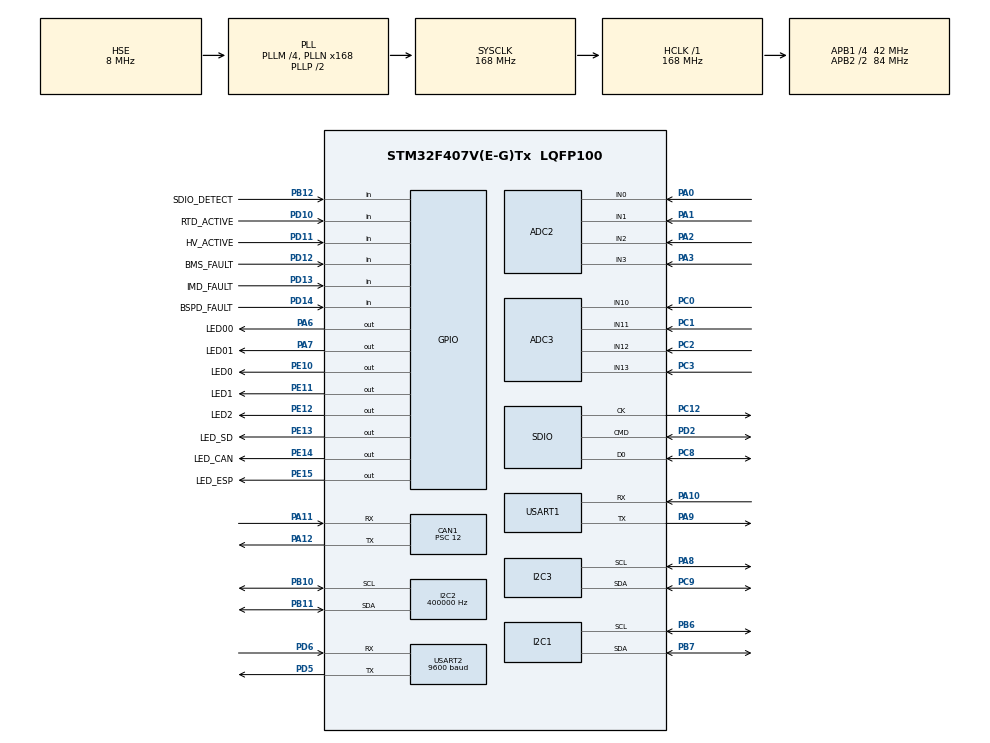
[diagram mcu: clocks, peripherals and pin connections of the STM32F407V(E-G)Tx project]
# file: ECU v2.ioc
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ADC1.Channel-0\#ChannelRegularConversion=ADC_CHANNEL_TEMPSENSOR
ADC1.ContinuousConvMode=DISABLE
ADC1.InjNumberOfConversion=0
ADC1.NbrOfConversionFlag=1
ADC1.Rank-0\#ChannelRegularConversion=1
ADC1.SamplingTime-0\#ChannelRegularConversion=ADC_SAMPLETIME_28CYCLES
ADC1.master=1
ADC2.Channel-0\#ChannelRegularConversion=ADC_CHANNEL_0
ADC2.Channel-6\#ChannelRegularConversion=ADC_CHANNEL_1
ADC2.Channel-7\#ChannelRegularConversion=ADC_CHANNEL_2
ADC2.Channel-8\#ChannelRegularConversion=ADC_CHANNEL_3
ADC2.ContinuousConvMode=DISABLE
ADC2.DiscontinuousConvMode=ENABLE
ADC2.EOCSelection=ADC_EOC_SINGLE_CONV
ADC2.InjNumberOfConversion=0
ADC2.NbrOfConversion=4
ADC2.NbrOfConversionFlag=1
ADC2.Rank-0\#ChannelRegularConversion=1
ADC2.Rank-6\#ChannelRegularConversion=2
ADC2.Rank-7\#ChannelRegularConversion=3
ADC2.Rank-8\#ChannelRegularConversion=4
ADC2.SamplingTime-0\#ChannelRegularConversion=ADC_SAMPLETIME_28CYCLES
ADC2.SamplingTime-6\#ChannelRegularConversion=ADC_SAMPLETIME_28CYCLES
ADC2.SamplingTime-7\#ChannelRegularConversion=ADC_SAMPLETIME_28CYCLES
ADC2.SamplingTime-8\#ChannelRegularConversion=ADC_SAMPLETIME_28CYCLES
ADC2.ScanConvMode=ENABLE
ADC3.Channel-0\#ChannelRegularConversion=ADC_CHANNEL_10
ADC3.Channel-5\#ChannelRegularConversion=ADC_CHANNEL_11
ADC3.Channel-6\#ChannelRegularConversion=ADC_CHANNEL_12
ADC3.Channel-7\#ChannelRegularConversion=ADC_CHANNEL_13
ADC3.ContinuousConvMode=DISABLE
ADC3.DiscontinuousConvMode=ENABLE
ADC3.EOCSelection=ADC_EOC_SINGLE_CONV
ADC3.InjNumberOfConversion=0
ADC3.NbrOfConversion=4
ADC3.NbrOfConversionFlag=1
ADC3.Rank-0\#ChannelRegularConversion=1
ADC3.Rank-5\#ChannelRegularConversion=2
ADC3.Rank-6\#ChannelRegularConversion=3
ADC3.Rank-7\#ChannelRegularConversion=4
ADC3.SamplingTime-0\#ChannelRegularConversion=ADC_SAMPLETIME_28CYCLES
ADC3.SamplingTime-5\#ChannelRegularConversion=ADC_SAMPLETIME_28CYCLES
ADC3.SamplingTime-6\#ChannelRegularConversion=ADC_SAMPLETIME_28CYCLES
ADC3.SamplingTime-7\#ChannelRegularConversion=ADC_SAMPLETIME_28CYCLES
ADC3.ScanConvMode=ENABLE
CAN1.ABOM=DISABLE
CAN1.AWUM=ENABLE
CAN1.BS1=CAN_BS1_11TQ
CAN1.BS2=CAN_BS2_2TQ
CAN1.CalculateBaudRate=250000
CAN1.CalculateTimeBit=4000
CAN1.CalculateTimeQuantum=285.7142857142857
CAN1.Mode=CAN_MODE_NORMAL
CAN1.Prescaler=12
CAN1.TTCM=DISABLE
Dma.Request0=SDIO_RX
Dma.Request1=SDIO_TX
Dma.Request2=USART2_RX
Dma.SDIO_RX.0.Direction=DMA_PERIPH_TO_MEMORY
Dma.SDIO_RX.0.FIFOMode=DMA_FIFOMODE_ENABLE
Dma.SDIO_RX.0.FIFOThreshold=DMA_FIFO_THRESHOLD_FULL
Dma.SDIO_RX.0.Instance=DMA2_Stream3
Dma.SDIO_RX.0.MemBurst=DMA_MBURST_INC4
Dma.SDIO_RX.0.MemDataAlignment=DMA_MDATAALIGN_WORD
Dma.SDIO_RX.0.MemInc=DMA_MINC_ENABLE
Dma.SDIO_RX.0.Mode=DMA_PFCTRL
Dma.SDIO_RX.0.PeriphBurst=DMA_PBURST_INC4
Dma.SDIO_RX.0.PeriphDataAlignment=DMA_PDATAALIGN_WORD
Dma.SDIO_RX.0.PeriphInc=DMA_PINC_DISABLE
Dma.SDIO_RX.0.Priority=DMA_PRIORITY_LOW
Dma.SDIO_TX.1.Direction=DMA_MEMORY_TO_PERIPH
Dma.SDIO_TX.1.FIFOMode=DMA_FIFOMODE_ENABLE
Dma.SDIO_TX.1.FIFOThreshold=DMA_FIFO_THRESHOLD_FULL
Dma.SDIO_TX.1.Instance=DMA2_Stream6
Dma.SDIO_TX.1.MemBurst=DMA_MBURST_INC4
Dma.SDIO_TX.1.MemDataAlignment=DMA_MDATAALIGN_WORD
Dma.SDIO_TX.1.MemInc=DMA_MINC_ENABLE
Dma.SDIO_TX.1.Mode=DMA_PFCTRL
Dma.SDIO_TX.1.PeriphBurst=DMA_PBURST_INC4
Dma.SDIO_TX.1.PeriphDataAlignment=DMA_PDATAALIGN_WORD
Dma.SDIO_TX.1.PeriphInc=DMA_PINC_DISABLE
Dma.SDIO_TX.1.Priority=DMA_PRIORITY_LOW
Dma.USART2_RX.2.Direction=DMA_PERIPH_TO_MEMORY
Dma.USART2_RX.2.FIFOMode=DMA_FIFOMODE_DISABLE
Dma.USART2_RX.2.Instance=DMA1_Stream5
Dma.USART2_RX.2.MemDataAlignment=DMA_MDATAALIGN_BYTE
Dma.USART2_RX.2.MemInc=DMA_MINC_ENABLE
Dma.USART2_RX.2.Mode=DMA_NORMAL
Dma.USART2_RX.2.PeriphDataAlignment=DMA_PDATAALIGN_BYTE
Dma.USART2_RX.2.PeriphInc=DMA_PINC_DISABLE
Dma.USART2_RX.2.Priority=DMA_PRIORITY_LOW
FATFS.BSP.number=1
FATFS.USE_DMA_CODE_SD=1
FATFS._CODE_PAGE=850
FATFS._MAX_SS=4096
FATFS._USE_LFN=1
FATFS0.BSP.STBoard=false
FATFS0.BSP.api=Unknown
FATFS0.BSP.instance=PB12
FATFS0.BSP.ip=GPIO
FATFS0.BSP.mode=Input
FATFS0.BSP.name=Detect_SDIO
FATFS0.BSP.solution=PB12
I2C1.I2C_Mode=I2C_Fast
I2C2.ClockSpeed=400000
I2C2.I2C_Mode=I2C_Fast
I2C3.I2C_Mode=I2C_Fast
Mcu.Family=STM32F4
Mcu.Name=STM32F407V(E-G)Tx
Mcu.Package=LQFP100
NVIC.ADC_IRQn=true\:0\:0\:false\:false\:true\:true\:true\:true
NVIC.CAN1_RX0_IRQn=true\:0\:0\:false\:false\:true\:true\:true\:true
NVIC.CAN1_TX_IRQn=true\:0\:0\:false\:false\:true\:true\:true\:true
NVIC.DMA1_Stream5_IRQn=true\:0\:0\:false\:false\:true\:false\:true\:true
NVIC.DMA2_Stream3_IRQn=true\:0\:0\:false\:false\:true\:false\:true\:true
NVIC.DMA2_Stream6_IRQn=true\:0\:0\:false\:false\:true\:false\:true\:true
NVIC.I2C1_EV_IRQn=true\:0\:0\:false\:false\:true\:true\:true\:true
NVIC.I2C2_EV_IRQn=true\:0\:0\:false\:false\:true\:true\:true\:true
NVIC.I2C3_EV_IRQn=true\:0\:0\:false\:false\:true\:true\:true\:true
NVIC.PriorityGroup=NVIC_PRIORITYGROUP_4
NVIC.SDIO_IRQn=true\:0\:0\:false\:false\:true\:true\:true\:true
NVIC.TIM1_UP_TIM10_IRQn=true\:0\:0\:false\:false\:true\:true\:true\:true
NVIC.TIM2_IRQn=true\:0\:0\:false\:false\:true\:true\:true\:true
NVIC.TIM3_IRQn=true\:0\:0\:false\:false\:true\:true\:true\:true
NVIC.USART1_IRQn=true\:0\:0\:false\:false\:true\:true\:true\:true
NVIC.USART2_IRQn=true\:0\:0\:false\:false\:true\:true\:true\:true
PA0-WKUP.GPIO_PuPd=GPIO_NOPULL
PA0-WKUP.Signal=SharedAnalog_PA0
PA1.GPIO_PuPd=GPIO_NOPULL
PA1.Signal=SharedAnalog_PA1
PA10.Mode=Asynchronous
PA10.Signal=USART1_RX
PA11.Mode=CAN_Activate
PA11.Signal=CAN1_RX
PA12.Mode=CAN_Activate
PA12.Signal=CAN1_TX
PA2.Signal=SharedAnalog_PA2
PA3.Signal=SharedAnalog_PA3
PA6.GPIO_Label=LED00
PA6.GPIO_PuPd=GPIO_NOPULL
PA6.Signal=GPIO_Output
PA7.GPIO_Label=LED01
PA7.GPIO_PuPd=GPIO_NOPULL
PA7.Signal=GPIO_Output
PA8.Mode=I2C
PA8.Signal=I2C3_SCL
PA9.Mode=Asynchronous
PA9.Signal=USART1_TX
PB10.Mode=I2C
PB10.Signal=I2C2_SCL
PB11.Mode=I2C
PB11.Signal=I2C2_SDA
PB12.GPIO_Label=SDIO_DETECT
PB12.GPIO_PuPd=GPIO_PULLDOWN
PB12.Signal=GPIO_Input
PB6.Mode=I2C
PB6.Signal=I2C1_SCL
PB7.Mode=I2C
PB7.Signal=I2C1_SDA
PC0.Signal=SharedAnalog_PC0
PC1.Signal=SharedAnalog_PC1
PC12.Mode=SD_1_bit
PC12.Signal=SDIO_CK
PC14-OSC32_IN.Mode=LSE-External-Oscillator
PC14-OSC32_IN.Signal=RCC_OSC32_IN
PC15-OSC32_OUT.Mode=LSE-External-Oscillator
PC15-OSC32_OUT.Signal=RCC_OSC32_OUT
PC2.Signal=SharedAnalog_PC2
PC3.Signal=SharedAnalog_PC3
PC8.GPIO_PuPd=GPIO_PULLUP
PC8.Mode=SD_1_bit
PC8.Signal=SDIO_D0
PC9.Mode=I2C
PC9.Signal=I2C3_SDA
PD10.GPIO_Label=RTD_ACTIVE
PD10.Signal=GPIO_Input
PD11.GPIO_Label=HV_ACTIVE
PD11.Signal=GPIO_Input
PD12.GPIO_Label=BMS_FAULT
PD12.Signal=GPIO_Input
PD13.GPIO_Label=IMD_FAULT
PD13.Signal=GPIO_Input
PD14.GPIO_Label=BSPD_FAULT
PD14.Signal=GPIO_Input
PD2.GPIO_PuPd=GPIO_PULLUP
PD2.Mode=SD_1_bit
PD2.Signal=SDIO_CMD
PD5.Mode=Asynchronous
PD5.Signal=USART2_TX
PD6.Mode=Asynchronous
PD6.Signal=USART2_RX
PE10.GPIO_Label=LED0
PE10.Signal=GPIO_Output
PE11.GPIO_Label=LED1
PE11.Signal=GPIO_Output
PE12.GPIO_Label=LED2
PE12.Signal=GPIO_Output
PE13.GPIO_Label=LED_SD
PE13.Signal=GPIO_Output
PE14.GPIO_Label=LED_CAN
PE14.Signal=GPIO_Output
PE15.GPIO_Label=LED_ESP
PE15.Signal=GPIO_Output
PH0-OSC_IN.Mode=HSE-External-Oscillator
PH0-OSC_IN.Signal=RCC_OSC_IN
PH1-OSC_OUT.Mode=HSE-External-Oscillator
PH1-OSC_OUT.Signal=RCC_OSC_OUT
ProjectManager.HeapSize=0x200
ProjectManager.StackSize=0x400
ProjectManager.TargetToolchain=STM32CubeIDE
RCC.48MHZClocksFreq_Value=48000000
RCC.AHBFreq_Value=168000000
RCC.APB1CLKDivider=RCC_HCLK_DIV4
RCC.APB1Freq_Value=42000000
RCC.APB1TimFreq_Value=84000000
RCC.APB2CLKDivider=RCC_HCLK_DIV2
RCC.APB2Freq_Value=84000000
RCC.APB2TimFreq_Value=168000000
RCC.CortexFreq_Value=168000000
RCC.EnbaleCSS=true
RCC.HCLKFreq_Value=168000000
RCC.HSE_VALUE=8000000
RCC.HSI_VALUE=16000000
RCC.PLLM=4
RCC.PLLN=168
RCC.PLLQ=7
RCC.PLLSourceVirtual=RCC_PLLSOURCE_HSE
RCC.RCC_RTC_Clock_Source=RCC_RTCCLKSOURCE_LSE
RCC.RCC_RTC_Clock_SourceVirtual=RCC_RTCCLKSOURCE_LSE
RCC.SYSCLKFreq_VALUE=168000000
RCC.SYSCLKSource=RCC_SYSCLKSOURCE_PLLCLK
RCC.VCOOutputFreq_Value=336000000
RTC.Date=1
RTC.Hours=0
RTC.Minutes=0
RTC.Month=RTC_MONTH_JANUARY
RTC.Seconds=0
RTC.WeekDay=RTC_WEEKDAY_SUNDAY
RTC.Year=23
SDIO.ClockDiv=12
SDIO.HardwareFlowControl=SDIO_HARDWARE_FLOW_CONTROL_ENABLE
SH.SharedAnalog_PA0.0=GPIO_Analog
SH.SharedAnalog_PA0.1=ADC2_IN0,IN0
SH.SharedAnalog_PA1.0=GPIO_Analog
SH.SharedAnalog_PA1.1=ADC2_IN1,IN1
SH.SharedAnalog_PA2.0=GPIO_Analog
SH.SharedAnalog_PA2.1=ADC2_IN2,IN2
SH.SharedAnalog_PA3.0=GPIO_Analog
SH.SharedAnalog_PA3.1=ADC2_IN3,IN3
SH.SharedAnalog_PC0.0=GPIO_Analog
SH.SharedAnalog_PC0.1=ADC3_IN10,IN10
SH.SharedAnalog_PC1.0=GPIO_Analog
SH.SharedAnalog_PC1.1=ADC3_IN11,IN11
SH.SharedAnalog_PC2.0=GPIO_Analog
SH.SharedAnalog_PC2.1=ADC3_IN12,IN12
SH.SharedAnalog_PC3.0=GPIO_Analog
SH.SharedAnalog_PC3.1=ADC3_IN13,IN13
TIM1.Period=20000 - 1
TIM1.Prescaler=8400 - 1
TIM2.Period=3000 - 1
TIM2.Prescaler=8400 - 1
TIM3.Period=1000 - 1
TIM3.Prescaler=8400 - 1
USART1.VirtualMode=VM_ASYNC
USART2.BaudRate=9600
USART2.VirtualMode=VM_ASYNC
VP_ADC1_TempSens_Input.Mode=IN-TempSens
VP_FATFS_VS_SDIO.Mode=SDIO
VP_RTC_VS_RTC_Activate.Mode=RTC_Enabled
VP_RTC_VS_RTC_Calendar.Mode=RTC_Calendar
VP_TIM1_VS_ClockSourceINT.Mode=Internal
VP_TIM2_VS_ClockSourceINT.Mode=Internal
VP_TIM3_VS_ClockSourceINT.Mode=Internal
board=custom

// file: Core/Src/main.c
/* USER CODE BEGIN Header */
/**
  ******************************************************************************
  * @file           : main.c
  * @brief          : Main program body
  ******************************************************************************
  * @attention
  *
  * E-Formula 2023 ECU Unit Firmware. A-FA, Ajou University, Korea.
  *
  * Oh Byung-Jun (mail@luftaquila.io)
  * A-FA E-Formula Electric System Part Manager & Team Project Manager
  *
  ******************************************************************************
  */
/* USER CODE END Header */
#include "main.h"
#include "adc.h"
#include "can.h"
#include "dma.h"
#include "fatfs.h"
#include "i2c.h"
#include "rtc.h"
#include "sdio.h"
#include "tim.h"
#include "usart.h"
#include "gpio.h"

/* USER CODE BEGIN Includes */
#include "logger.h"
#include "string.h"
#include "stdlib.h"
/* USER CODE END Includes */

/* USER CODE BEGIN PD */
extern int32_t SYS_LOG(LOG_LEVEL level, LOG_SOURCE source, int32_t key);

extern inline uint32_t to_uint(uint8_t *str, char garbage);
extern inline uint32_t drop_point(uint8_t *str);
/* USER CODE END PD */

/* USER CODE BEGIN PV */
ERROR_CODE err;

// log data
FIL logfile;
LOG syslog;

// SD write buffer
ring_buffer_t LOG_BUFFER;
uint8_t LOG_BUFFER_ARR[1 << 12]; // 4KB

// system state log
SYSTEM_STATE sys_state;

// timer set flag
uint32_t timer_flag = 0;

// adc conversion flag and data
uint32_t adc_flag = 0;
uint16_t adc_value[ADC_COUNT] = { 0, };

// accelerometer data
uint8_t acc_value[6];

// I2C transmission flag and buffer
uint32_t i2c_flag = 0;
ring_buffer_t ESP_BUFFER;
ring_buffer_t LCD_BUFFER;

// CAN RX header and data
CAN_RxHeaderTypeDef can_rx_header;
uint8_t can_rx_data[8];

// LCD update data
DISPLAY_DATA display_data;

// GPS receive flag and buffer
uint32_t gps_flag = 0;
uint8_t gps_data[1 << 7]; // 128B

/* USER CODE END PV */

void SystemClock_Config(void);
/* USER CODE BEGIN PFP */
int32_t ECU_SETUP(void);
/* USER CODE END PFP */

/* USER CODE BEGIN 0 */
int _write(int file, uint8_t *ptr, int len) {
  HAL_UART_Transmit(&huart1, (uint8_t *)ptr, (uint16_t)len, 50);
  return (len);
}
/* USER CODE END 0 */

int main(void)
{

  /* MCU Configuration--------------------------------------------------------*/

  /* Reset of all peripherals, Initializes the Flash interface and the Systick. */
  HAL_Init();

  /* Configure the system clock */
  SystemClock_Config();

  /* Initialize all configured peripherals */
  MX_GPIO_Init();
  MX_DMA_Init();
  MX_USART1_UART_Init();
  MX_I2C2_Init();
  MX_SDIO_SD_Init();
  MX_RTC_Init();
  MX_FATFS_Init();
  MX_ADC1_Init();
  MX_I2C1_Init();
  MX_CAN1_Init();
  MX_ADC2_Init();
  MX_ADC3_Init();
  MX_USART2_UART_Init();
  MX_TIM1_Init();
  MX_I2C3_Init();
  MX_TIM2_Init();
  MX_TIM3_Init();
  /* USER CODE BEGIN 2 */

  // check boot time
  int32_t ret;
  DATETIME boot;
  RTC_READ(&boot);

  // init ECU gpio and system state
  ret = ECU_SETUP();
  if (ret != 0) {
    #ifdef DEBUG_MODE
      printf("[%8lu] [ERR] ECU setup failed: %ld\r\n", HAL_GetTick(), ret);
    #endif
  }

  // init SD card
  ret = SD_SETUP(&boot);
  if (ret != 0) {
    #ifdef DEBUG_MODE
      printf("[%8lu] [ERR] SD setup failed: %ld\r\n", HAL_GetTick(), ret);
    #endif
  }

  // core system boot complete
  syslog.value[0] = true;
  SYS_LOG(LOG_INFO, ECU, ECU_BOOT);

  // init ESP32 i2c for remote telemetry
  ret = ESP_SETUP();
  if (ret != 0) {
    #ifdef DEBUG_MODE
      printf("[%8lu] [ERR] ESP setup failed: %ld\r\n", HAL_GetTick(), ret);
    #endif
    syslog.value[0] = false;
    SYS_LOG(LOG_ERROR, ESP, ESP_INIT);
  }
  else {
    syslog.value[0] = true;
    SYS_LOG(LOG_INFO, ESP, ESP_INIT);
  }

  // init internal ADCs for sensors
  ret = ANALOG_SETUP();
  if (ret != 0) {
    #ifdef DEBUG_MODE
      printf("[%8lu] [ERR] ANALOG setup failed: %ld\r\n", HAL_GetTick(), ret);
    #endif
    syslog.value[0] = false;
    SYS_LOG(LOG_ERROR, ANALOG, ADC_INIT);
  }
  else {
    syslog.value[0] = true;
    SYS_LOG(LOG_INFO, ANALOG, ADC_INIT);
  }

  // init CAN for BMS and inverter
  ret = CAN_SETUP();
  if (ret != 0) {
    #ifdef DEBUG_MODE
      printf("[%8lu] [ERR] CAN setup failed: %ld\r\n", HAL_GetTick(), ret);
    #endif
    syslog.value[0] = false;
    SYS_LOG(LOG_ERROR, CAN, CAN_INIT);
  }
  else {
    syslog.value[0] = true;
    SYS_LOG(LOG_INFO, CAN, CAN_INIT);
  }

  // init 1602 LCD i2c
  ret = LCD_SETUP();
  if (ret != 0) {
    #ifdef DEBUG_MODE
      printf("[%8lu] [ERR] LCD setup failed: %ld\r\n", HAL_GetTick(), ret);
    #endif
    syslog.value[0] = false;
    SYS_LOG(LOG_ERROR, LCD, LCD_INIT);
  }
  else {
    syslog.value[0] = true;
    SYS_LOG(LOG_INFO, LCD, LCD_INIT);
  }

  // init ADXL345 3-axis accelerometer i2c
  ret = ACC_SETUP();
  if (ret != 0) {
    #ifdef DEBUG_MODE
      printf("[%8lu] [ERR] Accelerometer setup failed: %ld\r\n", HAL_GetTick(), ret);
    #endif
    syslog.value[0] = false;
    SYS_LOG(LOG_ERROR, ACC, ACC_INIT);
  }
  else {
    syslog.value[0] = true;
    SYS_LOG(LOG_INFO, ACC, ACC_INIT);
  }

  // init NEO-7M GPS UART
  ret = GPS_SETUP();
  if (ret != 0) {
    #ifdef DEBUG_MODE
      printf("[%8lu] [ERR] GPS setup failed: %ld\r\n", HAL_GetTick(), ret);
    #endif
    syslog.value[0] = false;
    SYS_LOG(LOG_ERROR, GPS, GPS_INIT);
  }
  else {
    syslog.value[0] = true;
    SYS_LOG(LOG_INFO, GPS, GPS_INIT);
  }

  // start hardware timers
  HAL_TIM_Base_Start_IT(&htim1);
  HAL_TIM_Base_Start_IT(&htim2);
  HAL_TIM_Base_Start_IT(&htim3);

  // system setup sequence complete
  syslog.value[0] = true;
  SYS_LOG(LOG_INFO, ECU, ECU_READY);

  /* USER CODE END 2 */

  /* Infinite loop */
  /* USER CODE BEGIN WHILE */

  while (1) {

    // 1s timer set: SD card sync
    if (timer_flag & 0x1 << TIMER_1s) {
      timer_flag &= ~(1 << TIMER_1s); // clear 1s timer flag

      // SD sync
      ret = SD_SYNC(&logfile);
      #ifdef DEBUG_MODE
        printf("[%8lu] [INF] SD SYNC: %ld\r\n", HAL_GetTick(), ret);
      #endif
    }

    // 300ms timer set: system state record, LCD update
    if (timer_flag & 0x1 << TIMER_300ms) {
      timer_flag &= ~(1 << TIMER_300ms); // clear 300ms timer flag

      // update system state
      sys_state.HV = HAL_GPIO_ReadPin(GPIOD, HV_ACTIVE_Pin);
      sys_state.RTD = HAL_GPIO_ReadPin(GPIOD, RTD_ACTIVE_Pin);
      sys_state.BMS = HAL_GPIO_ReadPin(GPIOD, BMS_FAULT_Pin);
      sys_state.IMD = HAL_GPIO_ReadPin(GPIOD, IMD_FAULT_Pin);
      sys_state.BSPD = HAL_GPIO_ReadPin(GPIOD, BSPD_FAULT_Pin);

      *(SYSTEM_STATE *)syslog.value = sys_state;
      SYS_LOG(LOG_INFO, ECU, ECU_STATE);

      // update LCD
      if (sys_state.LCD) {
        LCD_UPDATE();
        syslog.value[0] = true;
        SYS_LOG(LOG_INFO, LCD, LCD_UPDATED);
      }
    }

    // 100ms timer set: ADC conversion, accelerometer record
    if (timer_flag & 0x1 << TIMER_100ms) {
      timer_flag &= ~(1 << TIMER_100ms); // clear 100ms timer flag

      // start ADC conversion
      HAL_ADC_Start_IT(&hadc1);
      HAL_ADC_Start_IT(&hadc2);
      HAL_ADC_Start_IT(&hadc3);

      // trigger accelerometer read
      HAL_I2C_Mem_Read_IT(&hi2c3, ACC_I2C_ADDR, 0x32, 1, acc_value, 6);
    }

    // on all ADC conversions complete
    if (adc_flag == ((1 << ADC_CPU) | (1 << ADC_DIST) | (1 << ADC_SPD))) {
      adc_flag = 0; // clear all adc flags

      // record each channel
      *(uint16_t *)syslog.value = adc_value[ADC_TEMP];
      SYS_LOG(LOG_INFO, ANALOG, ADC_CPU);

      *(uint16_t *)(syslog.value + 0) = adc_value[ADC_DIST_FL];
      *(uint16_t *)(syslog.value + 2) = adc_value[ADC_DIST_RL];
      *(uint16_t *)(syslog.value + 4) = adc_value[ADC_DIST_FR];
      *(uint16_t *)(syslog.value + 6) = adc_value[ADC_DIST_RR];
      SYS_LOG(LOG_INFO, ANALOG, ADC_DIST);

      *(uint16_t *)(syslog.value + 0) = adc_value[ADC_SPD_FL];
      *(uint16_t *)(syslog.value + 2) = adc_value[ADC_SPD_RL];
      *(uint16_t *)(syslog.value + 4) = adc_value[ADC_SPD_FR];
      *(uint16_t *)(syslog.value + 6) = adc_value[ADC_SPD_RR];
      SYS_LOG(LOG_INFO, ANALOG, ADC_SPD);
    }

    /* check I2C Tx buffer; start transmit if buffer is not empty and not transmitting */
    if (i2c_flag & (1 << I2C_BUFFER_ESP_REMAIN) && !(i2c_flag & (1 << I2C_BUFFER_ESP_TRANSMIT))) {

    }

    if (i2c_flag & (1 << I2C_BUFFER_LCD_REMAIN) && !(i2c_flag & (1 << I2C_BUFFER_LCD_TRANSMIT))) {
      i2c_flag |= 1 << I2C_BUFFER_LCD_TRANSMIT;

      uint8_t payload[4];
      ring_buffer_dequeue_arr(&LCD_BUFFER, (char *)payload, 4);
      HAL_I2C_Master_Transmit_IT(&hi2c2, LCD_I2C_ADDR, payload, 4);
    }

    // check log buffer and write to SD
    if (!ring_buffer_is_empty(&LOG_BUFFER)) {
      SD_WRITE(ring_buffer_num_items(&LOG_BUFFER));
    }

    // parse GPS NMEA GPRMC data
    if (gps_flag) {
      gps_flag = 0; // clear GPS flag

      static NMEA_GPRMC gprmc;
      static GPS_COORD gps_coord;
      static GPS_VECTOR gps_vector;
      static GPS_DATETIME gps_datetime;

      if (!strncmp((char *)gps_data, "$GPRMC", 6)) {

        // parse NMEA GPRMC sentence
        gprmc.id= gps_data;
        gprmc.utc_time = FIND_AND_NUL(gprmc.id, gprmc.utc_time, ',');
        gprmc.status = FIND_AND_NUL(gprmc.utc_time, gprmc.status, ',');

        // proceed only if GPS fix is valid
        if (*gprmc.status == 'A') {
          gprmc.lat = FIND_AND_NUL(gprmc.status, gprmc.lat, ',');
          gprmc.north = FIND_AND_NUL(gprmc.lat, gprmc.north, ',');
          gprmc.lon = FIND_AND_NUL(gprmc.north, gprmc.lon, ',');
          gprmc.east = FIND_AND_NUL(gprmc.lon, gprmc.east, ',');
          gprmc.speed = FIND_AND_NUL(gprmc.east, gprmc.speed, ',');
          gprmc.course = FIND_AND_NUL(gprmc.speed, gprmc.course, ',');
          gprmc.utc_date = FIND_AND_NUL(gprmc.course, gprmc.utc_date, ',');
          gprmc.others = FIND_AND_NUL(gprmc.utc_date, gprmc.others, ',');

          // process GPS coordinates
          gps_coord.lat = to_uint(gprmc.lat, '.');
          gps_coord.lon = to_uint(gprmc.lon, '.');

          // process GPS speed and course
          gps_vector.speed = (int)(atof((char *)gprmc.speed) * 100);
          gps_vector.course = drop_point(gprmc.course);

          // process GPS datetime
          gps_datetime.utc_date = atoi((char *)gprmc.utc_date);
          gps_datetime.utc_time = drop_point(gprmc.utc_time);

          *(uint64_t *)syslog.value = *(uint64_t *)&gps_coord;
          SYS_LOG(LOG_INFO, GPS, GPS_POS);

          *(uint64_t *)syslog.value = *(uint64_t *)&gps_vector;
          SYS_LOG(LOG_INFO, GPS, GPS_VEC);

          *(uint64_t *)syslog.value = *(uint64_t *)&gps_datetime;
          SYS_LOG(LOG_INFO, GPS, GPS_TIME);

          sys_state.GPS = true;
        }
        else {
          sys_state.GPS = false;
        }
      }
    }

    /* USER CODE END WHILE */

  }
}

void SystemClock_Config(void)
{
  RCC_OscInitTypeDef RCC_OscInitStruct = {0};
  RCC_ClkInitTypeDef RCC_ClkInitStruct = {0};

  /** Configure the main internal regulator output voltage
  */
  __HAL_RCC_PWR_CLK_ENABLE();
  __HAL_PWR_VOLTAGESCALING_CONFIG(PWR_REGULATOR_VOLTAGE_SCALE1);

  /** Initializes the RCC Oscillators according to the specified parameters
  * in the RCC_OscInitTypeDef structure.
  */
  RCC_OscInitStruct.OscillatorType = RCC_OSCILLATORTYPE_HSE|RCC_OSCILLATORTYPE_LSE;
  RCC_OscInitStruct.HSEState = RCC_HSE_ON;
  RCC_OscInitStruct.LSEState = RCC_LSE_ON;
  RCC_OscInitStruct.PLL.PLLState = RCC_PLL_ON;
  RCC_OscInitStruct.PLL.PLLSource = RCC_PLLSOURCE_HSE;
  RCC_OscInitStruct.PLL.PLLM = 4;
  RCC_OscInitStruct.PLL.PLLN = 168;
  RCC_OscInitStruct.PLL.PLLP = RCC_PLLP_DIV2;
  RCC_OscInitStruct.PLL.PLLQ = 7;
  if (HAL_RCC_OscConfig(&RCC_OscInitStruct) != HAL_OK)
  {
    Error_Handler();
  }

  /** Initializes the CPU, AHB and APB buses clocks
  */
  RCC_ClkInitStruct.ClockType = RCC_CLOCKTYPE_HCLK|RCC_CLOCKTYPE_SYSCLK
                              |RCC_CLOCKTYPE_PCLK1|RCC_CLOCKTYPE_PCLK2;
  RCC_ClkInitStruct.SYSCLKSource = RCC_SYSCLKSOURCE_PLLCLK;
  RCC_ClkInitStruct.AHBCLKDivider = RCC_SYSCLK_DIV1;
  RCC_ClkInitStruct.APB1CLKDivider = RCC_HCLK_DIV4;
  RCC_ClkInitStruct.APB2CLKDivider = RCC_HCLK_DIV2;

  if (HAL_RCC_ClockConfig(&RCC_ClkInitStruct, FLASH_LATENCY_5) != HAL_OK)
  {
    Error_Handler();
  }

  /** Enables the Clock Security System
  */
  HAL_RCC_EnableCSS();
}

/* USER CODE BEGIN 4 */
int32_t ECU_SETUP(void) {

  // init LEDs
  HAL_GPIO_WritePin(GPIOA, LED00_Pin, GPIO_PIN_RESET);
  HAL_GPIO_WritePin(GPIOA, LED01_Pin, GPIO_PIN_SET);

  HAL_GPIO_WritePin(GPIOE, LED0_Pin, GPIO_PIN_RESET);
  HAL_GPIO_WritePin(GPIOE, LED1_Pin, GPIO_PIN_RESET);
  HAL_GPIO_WritePin(GPIOE, LED2_Pin, GPIO_PIN_RESET);

  // init system state
  sys_state.SD = false;
  HAL_GPIO_WritePin(GPIOE, LED_SD_Pin, GPIO_PIN_RESET);

  sys_state.CAN = false;
  HAL_GPIO_WritePin(GPIOE, LED_CAN_Pin, GPIO_PIN_RESET);

  sys_state.ESP = false;
  HAL_GPIO_WritePin(GPIOE, LED_ESP_Pin, GPIO_PIN_RESET);

  sys_state.ACC = false;
  sys_state.LCD = false;
  sys_state.GPS = false;

  // init buffer
  ring_buffer_init(&LOG_BUFFER, (char *)LOG_BUFFER_ARR, sizeof(LOG_BUFFER_ARR));

  return 0;
}
/* USER CODE END 4 */

void Error_Handler(void)
{
  /* USER CODE BEGIN Error_Handler_Debug */
  /* User can add his own implementation to report the HAL error return state */
  // __disable_irq();

  printf("[%8lu] [ERR] Error code: %d\n", HAL_GetTick(), err);

  while (1) {
    HAL_GPIO_WritePin(GPIOA, LED00_Pin, GPIO_PIN_SET);
    HAL_GPIO_WritePin(GPIOA, LED01_Pin, GPIO_PIN_RESET);
    HAL_Delay(500);
    HAL_GPIO_WritePin(GPIOA, LED00_Pin, GPIO_PIN_RESET);
    HAL_GPIO_WritePin(GPIOA, LED01_Pin, GPIO_PIN_SET);
    HAL_Delay(500);
  }
  /* USER CODE END Error_Handler_Debug */
}
